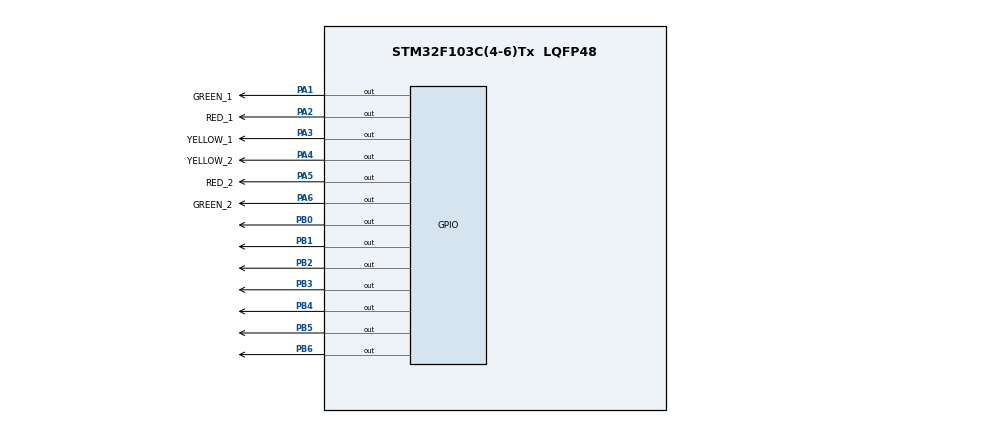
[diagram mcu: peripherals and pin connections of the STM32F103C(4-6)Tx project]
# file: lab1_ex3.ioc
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Mcu.Family=STM32F1
Mcu.Name=STM32F103C(4-6)Tx
Mcu.Package=LQFP48
NVIC.PriorityGroup=NVIC_PRIORITYGROUP_4
PA1.GPIO_Label=GREEN_1
PA1.Signal=GPIO_Output
PA2.GPIO_Label=RED_1
PA2.Signal=GPIO_Output
PA3.GPIO_Label=YELLOW_1
PA3.Signal=GPIO_Output
PA4.GPIO_Label=YELLOW_2
PA4.Signal=GPIO_Output
PA5.GPIO_Label=RED_2
PA5.Signal=GPIO_Output
PA6.GPIO_Label=GREEN_2
PA6.Signal=GPIO_Output
PB0.Signal=GPIO_Output
PB1.Signal=GPIO_Output
PB2.Signal=GPIO_Output
PB3.Signal=GPIO_Output
PB4.Signal=GPIO_Output
PB5.Signal=GPIO_Output
PB6.Signal=GPIO_Output
ProjectManager.HeapSize=0x200
ProjectManager.StackSize=0x400
ProjectManager.TargetToolchain=STM32CubeIDE
RCC.APB1Freq_Value=8000000
RCC.APB2Freq_Value=8000000
VP_SYS_VS_ND.Mode=No_Debug
board=custom

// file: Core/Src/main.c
/* USER CODE BEGIN Header */
/**
  ******************************************************************************
  * @file           : main.c
  * @brief          : Main program body
  ******************************************************************************
  * @attention
  *
  * <h2><center>&copy; Copyright (c) 2026 STMicroelectronics.
  * All rights reserved.</center></h2>
  *
  * This software component is licensed by ST under BSD 3-Clause license,
  * the "License"; You may not use this file except in compliance with the
  * License. You may obtain a copy of the License at:
  *                        opensource.org/licenses/BSD-3-Clause
  *
  ******************************************************************************
  */
/* USER CODE END Header */
#include "main.h"

void SystemClock_Config(void);
static void MX_GPIO_Init(void);
/* USER CODE BEGIN PFP */
void display7SEG(int num) {
    uint8_t seg7[10] = {0xC0, 0xF9, 0xA4, 0xB0, 0x99, 0x92, 0x82, 0xF8, 0x80, 0x90};

    if (num < 0 || num > 9) return;

    HAL_GPIO_WritePin(GPIOB, GPIO_PIN_0, (seg7[num] >> 0) & 0x01); // a
    HAL_GPIO_WritePin(GPIOB, GPIO_PIN_1, (seg7[num] >> 1) & 0x01); // b
    HAL_GPIO_WritePin(GPIOB, GPIO_PIN_2, (seg7[num] >> 2) & 0x01); // c
    HAL_GPIO_WritePin(GPIOB, GPIO_PIN_3, (seg7[num] >> 3) & 0x01); // d
    HAL_GPIO_WritePin(GPIOB, GPIO_PIN_4, (seg7[num] >> 4) & 0x01); // e
    HAL_GPIO_WritePin(GPIOB, GPIO_PIN_5, (seg7[num] >> 5) & 0x01); // f
    HAL_GPIO_WritePin(GPIOB, GPIO_PIN_6, (seg7[num] >> 6) & 0x01); // g
}
/* USER CODE END PFP */

int main(void)
{

  /* MCU Configuration--------------------------------------------------------*/

  /* Reset of all peripherals, Initializes the Flash interface and the Systick. */
  HAL_Init();

  /* Configure the system clock */
  SystemClock_Config();

  /* Initialize all configured peripherals */
  MX_GPIO_Init();
  /* USER CODE BEGIN 2 */
  int counter =0;
  /* USER CODE END 2 */

  /* Infinite loop */
  /* USER CODE BEGIN WHILE */
  while (1)
  {
	  if (counter < 3) {
			// STATE 0 (Seconds 0, 1, 2)
			// North-South: GREEN ON | East-West: RED ON
			HAL_GPIO_WritePin(GPIOA, GPIO_PIN_1, GPIO_PIN_SET);   // N-S Red OFF
			HAL_GPIO_WritePin(GPIOA, GPIO_PIN_2, GPIO_PIN_SET);   // N-S Yellow OFF
			HAL_GPIO_WritePin(GPIOA, GPIO_PIN_3, GPIO_PIN_RESET); // N-S Green ON

			HAL_GPIO_WritePin(GPIOA, GPIO_PIN_4, GPIO_PIN_RESET); // E-W Red ON
			HAL_GPIO_WritePin(GPIOA, GPIO_PIN_5, GPIO_PIN_SET);   // E-W Yellow OFF
			HAL_GPIO_WritePin(GPIOA, GPIO_PIN_6, GPIO_PIN_SET);   // E-W Green OFF
		}
		else if (counter < 5) {
			// STATE 1 (Seconds 3, 4)
			// North-South: YELLOW ON | East-West: RED ON
			HAL_GPIO_WritePin(GPIOA, GPIO_PIN_1, GPIO_PIN_SET);   // N-S Red OFF
			HAL_GPIO_WritePin(GPIOA, GPIO_PIN_2, GPIO_PIN_RESET); // N-S Yellow ON
			HAL_GPIO_WritePin(GPIOA, GPIO_PIN_3, GPIO_PIN_SET);   // N-S Green OFF

			HAL_GPIO_WritePin(GPIOA, GPIO_PIN_4, GPIO_PIN_RESET); // E-W Red ON (Held)
			HAL_GPIO_WritePin(GPIOA, GPIO_PIN_5, GPIO_PIN_SET);
			HAL_GPIO_WritePin(GPIOA, GPIO_PIN_6, GPIO_PIN_SET);
		}
		else if (counter < 8) {
			// STATE 2 (Seconds 5, 6, 7)
			// North-South: RED ON | East-West: GREEN ON
			HAL_GPIO_WritePin(GPIOA, GPIO_PIN_1, GPIO_PIN_RESET); // N-S Red ON
			HAL_GPIO_WritePin(GPIOA, GPIO_PIN_2, GPIO_PIN_SET);
			HAL_GPIO_WritePin(GPIOA, GPIO_PIN_3, GPIO_PIN_SET);

			HAL_GPIO_WritePin(GPIOA, GPIO_PIN_4, GPIO_PIN_SET);   // E-W Red OFF
			HAL_GPIO_WritePin(GPIOA, GPIO_PIN_5, GPIO_PIN_SET);   // E-W Yellow OFF
			HAL_GPIO_WritePin(GPIOA, GPIO_PIN_6, GPIO_PIN_RESET); // E-W Green ON
		}
		else if (counter < 10) {
			// STATE 3 (Seconds 8, 9)
			// North-South: RED ON | East-West: YELLOW ON
			HAL_GPIO_WritePin(GPIOA, GPIO_PIN_1, GPIO_PIN_RESET); // N-S Red ON (Held)
			HAL_GPIO_WritePin(GPIOA, GPIO_PIN_2, GPIO_PIN_SET);
			HAL_GPIO_WritePin(GPIOA, GPIO_PIN_3, GPIO_PIN_SET);

			HAL_GPIO_WritePin(GPIOA, GPIO_PIN_4, GPIO_PIN_SET);   // E-W Red OFF
			HAL_GPIO_WritePin(GPIOA, GPIO_PIN_5, GPIO_PIN_RESET); // E-W Yellow ON
			HAL_GPIO_WritePin(GPIOA, GPIO_PIN_6, GPIO_PIN_SET);   // E-W Green OFF
		}
	  display7SEG ( counter ++) ;
	  if(counter>=10)
		  counter=0;

	  HAL_Delay(1000);
    /* USER CODE END WHILE */

  }
}

void SystemClock_Config(void)
{
  RCC_OscInitTypeDef RCC_OscInitStruct = {0};
  RCC_ClkInitTypeDef RCC_ClkInitStruct = {0};

  /** Initializes the RCC Oscillators according to the specified parameters
  * in the RCC_OscInitTypeDef structure.
  */
  RCC_OscInitStruct.OscillatorType = RCC_OSCILLATORTYPE_HSI;
  RCC_OscInitStruct.HSIState = RCC_HSI_ON;
  RCC_OscInitStruct.HSICalibrationValue = RCC_HSICALIBRATION_DEFAULT;
  RCC_OscInitStruct.PLL.PLLState = RCC_PLL_NONE;
  if (HAL_RCC_OscConfig(&RCC_OscInitStruct) != HAL_OK)
  {
    Error_Handler();
  }
  /** Initializes the CPU, AHB and APB buses clocks
  */
  RCC_ClkInitStruct.ClockType = RCC_CLOCKTYPE_HCLK|RCC_CLOCKTYPE_SYSCLK
                              |RCC_CLOCKTYPE_PCLK1|RCC_CLOCKTYPE_PCLK2;
  RCC_ClkInitStruct.SYSCLKSource = RCC_SYSCLKSOURCE_HSI;
  RCC_ClkInitStruct.AHBCLKDivider = RCC_SYSCLK_DIV1;
  RCC_ClkInitStruct.APB1CLKDivider = RCC_HCLK_DIV1;
  RCC_ClkInitStruct.APB2CLKDivider = RCC_HCLK_DIV1;

  if (HAL_RCC_ClockConfig(&RCC_ClkInitStruct, FLASH_LATENCY_0) != HAL_OK)
  {
    Error_Handler();
  }
}

static void MX_GPIO_Init(void)
{
  GPIO_InitTypeDef GPIO_InitStruct = {0};

  /* GPIO Ports Clock Enable */
  __HAL_RCC_GPIOA_CLK_ENABLE();
  __HAL_RCC_GPIOB_CLK_ENABLE();

  /*Configure GPIO pin Output Level */
  HAL_GPIO_WritePin(GPIOA, GREEN_1_Pin|RED_1_Pin|YELLOW_1_Pin|YELLOW_2_Pin
                          |RED_2_Pin|GREEN_2_Pin, GPIO_PIN_RESET);

  /*Configure GPIO pin Output Level */
  HAL_GPIO_WritePin(GPIOB, GPIO_PIN_0|GPIO_PIN_1|GPIO_PIN_2|GPIO_PIN_3
                          |GPIO_PIN_4|GPIO_PIN_5|GPIO_PIN_6, GPIO_PIN_RESET);

  /*Configure GPIO pins : GREEN_1_Pin RED_1_Pin YELLOW_1_Pin YELLOW_2_Pin
                           RED_2_Pin GREEN_2_Pin */
  GPIO_InitStruct.Pin = GREEN_1_Pin|RED_1_Pin|YELLOW_1_Pin|YELLOW_2_Pin
                          |RED_2_Pin|GREEN_2_Pin;
  GPIO_InitStruct.Mode = GPIO_MODE_OUTPUT_PP;
  GPIO_InitStruct.Pull = GPIO_NOPULL;
  GPIO_InitStruct.Speed = GPIO_SPEED_FREQ_LOW;
  HAL_GPIO_Init(GPIOA, &GPIO_InitStruct);

  /*Configure GPIO pins : PB0 PB1 PB2 PB3
                           PB4 PB5 PB6 */
  GPIO_InitStruct.Pin = GPIO_PIN_0|GPIO_PIN_1|GPIO_PIN_2|GPIO_PIN_3
                          |GPIO_PIN_4|GPIO_PIN_5|GPIO_PIN_6;
  GPIO_InitStruct.Mode = GPIO_MODE_OUTPUT_PP;
  GPIO_InitStruct.Pull = GPIO_NOPULL;
  GPIO_InitStruct.Speed = GPIO_SPEED_FREQ_LOW;
  HAL_GPIO_Init(GPIOB, &GPIO_InitStruct);

}

void Error_Handler(void)
{
  __disable_irq();
  while (1)
  {
  }
}

/************************ (C) COPYRIGHT STMicroelectronics *****END OF FILE****/
